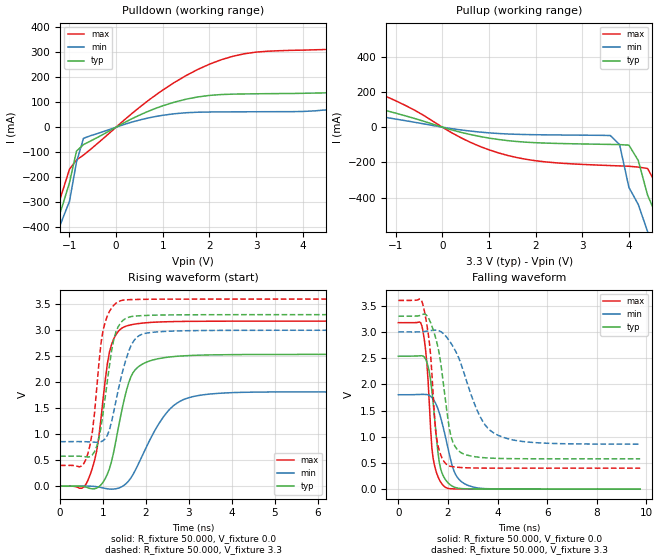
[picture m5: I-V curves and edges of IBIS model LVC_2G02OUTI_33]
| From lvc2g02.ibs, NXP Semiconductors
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|   Model LVC_2G02OUTI_33
[Model]   LVC_2G02OUTI_33
Model_type   Output
Polarity   Inverting
Vmeas =  1.5V
Cref  =  50.0pF
Rref  =  0.5k
Vref  =  0.0V
C_comp   3.30pF   2.07pF   4.36pF
[Model Spec]
| Note: The input and output voltage ratings may be exceeded if the input and
|   output current ratings are observed (please refer to the data sheet)
|   Subparameter   typ   min   max
| Timing Thresholds
Vmeas   1.5   1.5   1.5
|Ambient temperature:   25   85   -40
[Temperature Range]   35   95   -30
[Voltage Range]   3.3V   3.0V   3.6V
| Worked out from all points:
|   slope of the pulldown table from 0 to 0.495 V, typ, clamps not added: 10.4 ohm
|   slope of the pullup table from 0 to 0.495 V, typ, clamps not added: 14 ohm
|   rising waveform, R_fixture 50.000, V_fixture 0.0: 20-80 % time 409ps typ, 731ps min, 301ps max; typ from 0 V to 2.54 V
|   rising waveform, R_fixture 50.000, V_fixture 3.3: 20-80 % time 284ps typ, 377ps min, 243ps max; typ from 0.578 V to 3.3 V
|   falling waveform, R_fixture 50.000, V_fixture 0.0: 20-80 % time 340ps typ, 574ps min, 268ps max; typ from 2.54 V to 0 V
|   falling waveform, R_fixture 50.000, V_fixture 3.3: 20-80 % time 499ps typ, 1.04ns min, 318ps max; typ from 3.3 V to 0.578 V
|Process Range   nominal   slow   fast
[Pulldown]
| voltage   I(typ)   I(min)   I(max)
-5.5V     -4.541A    -4.577A    -4.501A
-1.45V    -533.3mA   -577.9mA   -483mA
-1.3V     -397.3mA   -442.4mA   -347.4mA
-1V       -221.8mA   -296.4mA   -168.2mA
-850mV    -95.82mA   -139.8mA   -131mA
-700mV    -69.66mA   -44.64mA   -111.7mA
1V        85.3mA     47.36mA    148.2mA
2.5V      131.8mA    61.07mA    283mA
5V        152.5mA    80.61mA    312.8mA
6V        202.1mA    110.9mA    399.6mA
9.25V     406.6mA    240.4mA    750.7mA
11V       533.7mA    322.1mA    955.9mA
[Pullup]
| voltage   I(typ)   I(min)   I(max)
-8V       481.6mA    323.4mA    788.9mA
-5V       330.6mA    210.3mA    573.2mA
-2.2V     163.6mA    98.17mA    292.9mA
1V        -62mA      -32.39mA   -128.5mA
3.6V      -97.95mA   -47.49mA   -218mA
3.8V      -99.13mA   -99.5mA    -219.9mA
4V        -102.1mA   -342.3mA   -221.9mA
4.2V      -189.4mA   -438.6mA   -226.5mA
4.4V      -386.3mA   -592.7mA   -234.5mA
4.8V      -702.7mA   -987.7mA   -496.5mA
5V        -905.5mA   -1.189A    -672.5mA
9.1V      -4.887A    -5.192A    -4.729A
[Ramp]
| variable   typ   min   max
dV/dt_r   1.522V/408.537ps   1.084V/731.233ps   1.905V/301.360ps
dV/dt_f   1.633V/499.135ps   1.285V/1.041ns   1.920V/318.304ps
R_load = 50.000
[Rising Waveform]
R_fixture   = 50.000
V_fixture   = 0.0
V_fixture_min = 0.0
V_fixture_max = 0.0
| time   V(typ)   V(min)   V(max)
0s        21.78pV    850.5pV    611.1pV
650ps     -29.28mV   1.614mV    118mV
850ps     -36.67mV   -8.903mV   673mV
1.15ns    339.3mV    -54.77mV   2.582V
1.5ns     1.692V     24.57mV    3.068V
1.65ns    2.106V     160.3mV    3.104V
1.9ns     2.341V     561.8mV    3.136V
2.5ns     2.481V     1.432V     3.164V
3.1ns     2.517V     1.725V     3.172V
9.75ns    2.537V     1.807V     3.176V
[Rising Waveform]
R_fixture   = 50.000
V_fixture   = 3.3
V_fixture_min = 3.0
V_fixture_max = 3.6
| time   V(typ)   V(min)   V(max)
0s        578.4mV    857.7mV    400.2mV
550ps     571mV      857.1mV    434.2mV
700ps     569mV      852.2mV    806.9mV
800ps     664.5mV    847mV      1.399V
1ns       1.404V     875.3mV    2.999V
1.25ns    2.826V     1.437V     3.481V
1.4ns     3.131V     2.021V     3.565V
1.7ns     3.268V     2.776V     3.591V
2.05ns    3.287V     2.95V      3.596V
9.75ns    3.3V       3V         3.6V
[Falling Waveform]
R_fixture   = 50.000
V_fixture   = 0.0
V_fixture_min = 0.0
V_fixture_max = 0.0
| time   V(typ)   V(min)   V(max)
0s        2.537V     1.801V     3.176V
950ps     2.545V     1.808V     3.109V
1.15ns    2.421V     1.804V     2.399V
1.35ns    1.878V     1.749V     788.3mV
1.4ns     1.652V     1.72V      591.9mV
1.65ns    511mV      1.454V     181.6mV
1.9ns     180.6mV    992.8mV    35.58mV
2.3ns     31.59mV    286.6mV    4.533mV
3ns       4.041mV    42.86mV    731.8uV
9.75ns    -19.88uV   -118.6uV   -317nV
[Falling Waveform]
R_fixture   = 50.000
V_fixture   = 3.3
V_fixture_min = 3.0
V_fixture_max = 3.6
| time   V(typ)   V(min)   V(max)
0s        3.3V       3V         3.6V
950ps     3.328V     3.002V     3.581V
1.25ns    3.229V     3.022V     2.795V
1.55ns    2.8V       3.031V     942.3mV
1.95ns    1.505V     2.896V     470.4mV
2.15ns    960.9mV    2.761V     431mV
2.4ns     745.4mV    2.541V     416.7mV
3.2ns     611.7mV    1.478V     403mV
3.9ns     588.8mV    1.057V     400.9mV
9.75ns    578.4mV    858.5mV    400.2mV
